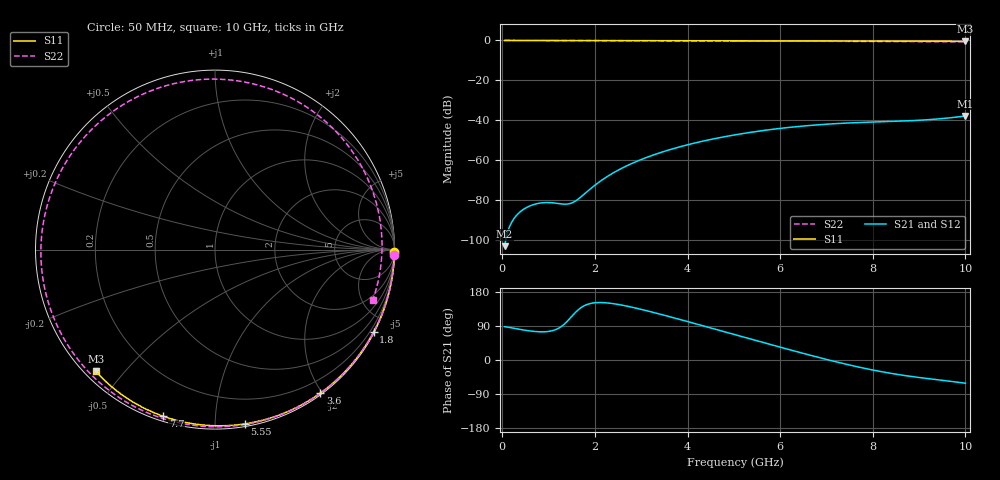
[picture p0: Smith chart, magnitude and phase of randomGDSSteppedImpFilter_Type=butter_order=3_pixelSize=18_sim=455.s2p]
! freq	dB(S11)	phase(S11)	dB(S12)	phase(S12)
!  dB(S21)	phase(S21)	dB(S22)	phase(S22)
!S-par simulation data
#  GHz  S  DB  R 50
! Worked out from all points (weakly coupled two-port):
!   200 points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, 50 MHz to 10 GHz, reference 50 ohm
!   highest |S21| = -37.79 dB at 10 GHz (marker M1); lowest = -102.9 dB at 50 MHz (marker M2)
!   lowest |S11| = -0.5 dB at 10 GHz (marker M3), VSWR 38.36, Z = 1.53 - j21 ohm
!   |S11| at or under -10 dB: nowhere
!   |S22| runs from -0.7 to 0.0 dB; largest |S21 - S12| = 0
!   S11 on the Smith chart (normalised r, x): 50 MHz: open; 1.8 GHz: 0.04, -4.08; 3.6 GHz: 0.02, -1.97; 5.55 GHz: 0.02, -1.19; 7.7 GHz: 0.02, -0.74; 10 GHz: 0.03, -0.42
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0.05  -0.00 -0.8  -102.92 87.9  -102.92 87.9  -0.00 -1.9
0.75  -0.01 -11.6  -81.64 74.8  -81.64 74.8  -0.03 -27.2
1.6  -0.03 -24.5  -80.03 128.0  -80.03 128.0  -0.07 -57.1
1.75  -0.03 -26.8  -77.27 142.0  -77.27 142.0  -0.08 -62.3
1.8  -0.03 -27.5  -76.27 145.0  -76.27 145.0  -0.08 -64.0
2.15  -0.04 -32.7  -69.87 151.6  -69.87 151.6  -0.09 -75.9
2.5  -0.05 -37.9  -64.92 146.7  -64.92 146.7  -0.11 -87.6
2.95  -0.06 -44.5  -60.03 135.0  -60.03 135.0  -0.13 -102.4
3.4  -0.07 -50.9  -56.21 121.2  -56.21 121.2  -0.15 -117.0
3.6  -0.07 -53.8  -54.76 114.8  -54.76 114.8  -0.16 -123.4
4.35  -0.09 -64.2  -50.28 89.7  -50.28 89.7  -0.20 -147.7
5.05  -0.11 -73.7  -47.12 66.0  -47.12 66.0  -0.24 -170.9
5.55  -0.13 -80.3  -45.33 49.0  -45.33 49.0  -0.28 171.9
6.1  -0.15 -87.4  -43.73 30.6  -43.73 30.6  -0.33 152.0
6.7  -0.18 -94.9  -42.41 11.0  -42.41 11.0  -0.37 128.9
7.2  -0.21 -101.1  -41.61 -4.6  -41.61 -4.6  -0.41 108.3
7.7  -0.24 -107.2  -41.06 -18.8  -41.06 -18.8  -0.45 86.7
8.35  -0.29 -114.9  -40.56 -34.4  -40.56 -34.4  -0.50 57.2
8.8  -0.33 -120.3  -40.17 -42.9  -40.17 -42.9  -0.53 36.4
9.2  -0.37 -125.0  -39.64 -49.2  -39.64 -49.2  -0.57 18.0
9.6  -0.41 -129.6  -38.86 -55.1  -38.86 -55.1  -0.63 -0.1
10  -0.45 -134.3  -37.79 -61.3  -37.79 -61.3  -0.70 -17.8
